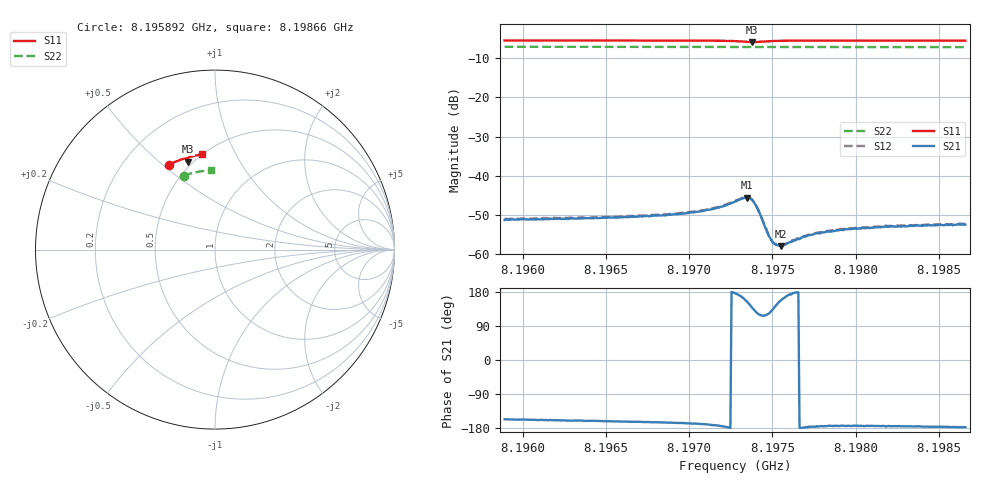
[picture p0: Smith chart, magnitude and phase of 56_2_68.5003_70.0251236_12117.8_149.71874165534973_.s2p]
#  HZ  S  RI  R  50.00
! Rohde & Schwarz Vector Network Analyzer
! Rohde-Schwarz,ZNB20-2Port,1311601062101988,3.16
! Created: UTC 3/20/2024, 4:51:02 PM
! freq[Hz]  re:S11  im:S11  re:S21  im:S21  re:S12  im:S12  re:S22  im:S22
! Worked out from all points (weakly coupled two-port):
!   401 points, 8.195892 GHz to 8.19866 GHz, reference 50 ohm
!   highest |S21| = -45.64 dB at 8.197345 GHz (marker M1); lowest = -58.1 dB at 8.197553 GHz (marker M2)
!   lowest |S11| = -5.8 dB at 8.19738 GHz (marker M3), VSWR 3.09, Z = 23.6 + j31.3 ohm
!   |S11| at or under -10 dB: nowhere
!   |S22| runs from -7.1 to -7.0 dB; largest |S21 - S12| = 0.0003
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8.1958916e9  -0.2536 0.4737  -0.00248 -0.00108  -0.0026 -0.00105  -0.1745 0.4104
8.1963553e9  -0.2235 0.4881  -0.00267 -0.000993  -0.00278 -0.000924  -0.1502 0.4191
8.1968191e9  -0.1918 0.5006  -0.00299 -0.000835  -0.00305 -0.000755  -0.1253 0.4265
8.1969783e9  -0.1799 0.5045  -0.0032 -0.000753  -0.00334 -0.000664  -0.1164 0.4287
8.1971029e9  -0.1696 0.5068  -0.00355 -0.000651  -0.00361 -0.000489  -0.1096 0.4302
8.1971928e9  -0.1609 0.5076  -0.00398 -0.000392  -0.00406 -0.000261  -0.1046 0.4313
8.1972759e9  -0.1511 0.5053  -0.00463 0.000287  -0.00471 0.000514  -0.0999 0.4322
8.1973451e9  -0.1454 0.4954  -0.00475 0.00218  -0.00472 0.00243  -0.0961 0.4326
8.1973659e9  -0.1473 0.4912  -0.00419 0.00291  -0.00412 0.00315  -0.0951 0.4325
8.1973797e9  -0.15 0.4891  -0.00356 0.00323  -0.0035 0.00348  -0.0946 0.4328
8.1973936e9  -0.1534 0.4885  -0.00288 0.00335  -0.00278 0.00353  -0.0938 0.4329
8.1974143e9  -0.158 0.4904  -0.00193 0.00308  -0.00185 0.00323  -0.0928 0.4331
8.1974697e9  -0.1606 0.5003  -0.000944 0.00163  -0.000919 0.00172  -0.0899 0.434
8.1974974e9  -0.1589 0.5043  -0.000952 0.0011  -0.000919 0.00115  -0.0882 0.4343
8.1975181e9  -0.1571 0.5065  -0.00105 0.00082  -0.000984 0.000859  -0.0873 0.4345
8.1975527e9  -0.1539 0.5095  -0.00115 0.000477  -0.00117 0.00054  -0.0852 0.435
8.1976635e9  -0.1441 0.5145  -0.00153 -3.74e-05  -0.0016 6.86e-05  -0.0789 0.436
8.1977396e9  -0.1379 0.5168  -0.00175 -0.000131  -0.00177 -2.57e-05  -0.0747 0.4366
8.1977742e9  -0.1352 0.5177  -0.00182 -0.000143  -0.00185 -7.87e-05  -0.0728 0.4369
8.1979196e9  -0.124 0.5207  -0.00201 -0.000241  -0.00204 -0.000142  -0.0647 0.4379
8.1982034e9  -0.1033 0.5251  -0.0022 -0.000215  -0.00226 -0.000121  -0.0487 0.4396
8.1986602e9  -0.0707 0.5302  -0.00235 -0.000118  -0.0024 -2.52e-05  -0.023 0.4408
